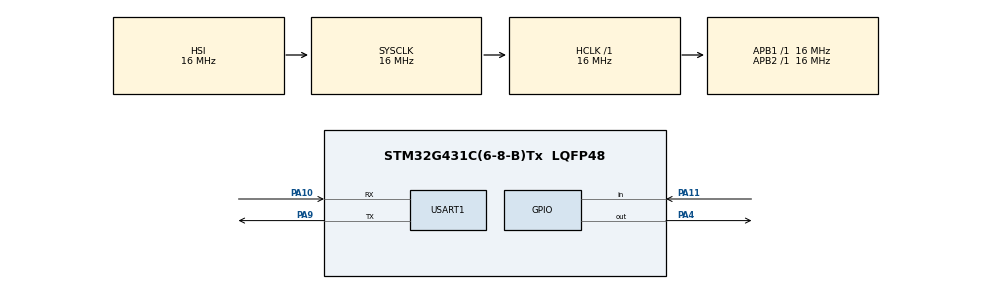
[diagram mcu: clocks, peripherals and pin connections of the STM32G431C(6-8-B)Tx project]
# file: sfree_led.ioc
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FREERTOS.Queues01=BtnQueue,16,uint32_t,0,Dynamic,NULL,NULL
FREERTOS.Tasks01=LTask,24,128,StartLTask,Default,NULL,Dynamic,NULL,NULL;STask,8,128,StartSTask,Default,NULL,Dynamic,NULL,NULL
Mcu.Family=STM32G4
Mcu.Name=STM32G431C(6-8-B)Tx
Mcu.Package=LQFP48
NVIC.PriorityGroup=NVIC_PRIORITYGROUP_4
NVIC.TIM4_IRQn=true\:15\:0\:false\:false\:true\:false\:false\:true\:true
NVIC.TimeBase=TIM4_IRQn
NVIC.TimeBaseIP=TIM4
PA10.Mode=Asynchronous
PA10.Signal=USART1_RX
PA11.Signal=GPIO_Input
PA13.Mode=Serial_Wire
PA13.Signal=SYS_JTMS-SWDIO
PA14.Mode=Serial_Wire
PA14.Signal=SYS_JTCK-SWCLK
PA4.GPIO_PuPd=GPIO_PULLDOWN
PA4.Signal=GPIO_Output
PA9.Mode=Asynchronous
PA9.Signal=USART1_TX
ProjectManager.HeapSize=0x200
ProjectManager.StackSize=0x400
ProjectManager.TargetToolchain=CMake
RCC.AHBFreq_Value=16000000
RCC.APB1Freq_Value=16000000
RCC.APB1TimFreq_Value=16000000
RCC.APB2Freq_Value=16000000
RCC.APB2TimFreq_Value=16000000
RCC.CortexFreq_Value=16000000
RCC.EXTERNAL_CLOCK_VALUE=12288000
RCC.HCLKFreq_Value=16000000
RCC.HSE_VALUE=8000000
RCC.HSI48_VALUE=48000000
RCC.HSI_VALUE=16000000
RCC.LSE_VALUE=32768
RCC.SYSCLKFreq_VALUE=16000000
RCC.USBFreq_Value=64000000
RCC.VCOOutputFreq_Value=128000000
USART1.VirtualMode-Asynchronous=VM_ASYNC
VP_FREERTOS_VS_CMSIS_V2.Mode=CMSIS_V2
VP_SYS_VS_DBSignals.Mode=DisableDeadBatterySignals
VP_SYS_VS_tim4.Mode=TIM4
board=custom

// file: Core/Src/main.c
/* USER CODE BEGIN Header */
/**
  ******************************************************************************
  * @file           : main.c
  * @brief          : Main program body
  ******************************************************************************
  * @attention
  *
  * Copyright (c) 2025 STMicroelectronics.
  * All rights reserved.
  *
  * This software is licensed under terms that can be found in the LICENSE file
  * in the root directory of this software component.
  * If no LICENSE file comes with this software, it is provided AS-IS.
  *
  ******************************************************************************
  */
/* USER CODE END Header */
#include "main.h"
#include "cmsis_os.h"
#include "usart.h"
#include "gpio.h"

void SystemClock_Config(void);
void MX_FREERTOS_Init(void);

int main(void)
{

  /* MCU Configuration--------------------------------------------------------*/

  /* Reset of all peripherals, Initializes the Flash interface and the Systick. */
  HAL_Init();

  /* Configure the system clock */
  SystemClock_Config();

  /* Initialize all configured peripherals */
  MX_GPIO_Init();
  MX_USART1_UART_Init();

  /* Init scheduler */
  osKernelInitialize();  /* Call init function for freertos objects (in cmsis_os2.c) */
  MX_FREERTOS_Init();

  /* Start scheduler */
  osKernelStart();

  /* We should never get here as control is now taken by the scheduler */

  /* Infinite loop */
  while (1)
  {

  }
}

void SystemClock_Config(void)
{
  RCC_OscInitTypeDef RCC_OscInitStruct = {0};
  RCC_ClkInitTypeDef RCC_ClkInitStruct = {0};

  /** Configure the main internal regulator output voltage
  */
  HAL_PWREx_ControlVoltageScaling(PWR_REGULATOR_VOLTAGE_SCALE1);

  /** Initializes the RCC Oscillators according to the specified parameters
  * in the RCC_OscInitTypeDef structure.
  */
  RCC_OscInitStruct.OscillatorType = RCC_OSCILLATORTYPE_HSI;
  RCC_OscInitStruct.HSIState = RCC_HSI_ON;
  RCC_OscInitStruct.HSICalibrationValue = RCC_HSICALIBRATION_DEFAULT;
  RCC_OscInitStruct.PLL.PLLState = RCC_PLL_NONE;
  if (HAL_RCC_OscConfig(&RCC_OscInitStruct) != HAL_OK)
  {
    Error_Handler();
  }

  /** Initializes the CPU, AHB and APB buses clocks
  */
  RCC_ClkInitStruct.ClockType = RCC_CLOCKTYPE_HCLK|RCC_CLOCKTYPE_SYSCLK
                              |RCC_CLOCKTYPE_PCLK1|RCC_CLOCKTYPE_PCLK2;
  RCC_ClkInitStruct.SYSCLKSource = RCC_SYSCLKSOURCE_HSI;
  RCC_ClkInitStruct.AHBCLKDivider = RCC_SYSCLK_DIV1;
  RCC_ClkInitStruct.APB1CLKDivider = RCC_HCLK_DIV1;
  RCC_ClkInitStruct.APB2CLKDivider = RCC_HCLK_DIV1;

  if (HAL_RCC_ClockConfig(&RCC_ClkInitStruct, FLASH_LATENCY_0) != HAL_OK)
  {
    Error_Handler();
  }
}

void HAL_TIM_PeriodElapsedCallback(TIM_HandleTypeDef *htim)
{
  if (htim->Instance == TIM4)
  {
    HAL_IncTick();
  }
}

void Error_Handler(void)
{
  __disable_irq();
  while (1)
  {
  }
}

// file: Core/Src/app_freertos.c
/* USER CODE BEGIN Header */
/**
  ******************************************************************************
  * File Name          : app_freertos.c
  * Description        : Code for freertos applications
  ******************************************************************************
  * @attention
  *
  * Copyright (c) 2025 STMicroelectronics.
  * All rights reserved.
  *
  * This software is licensed under terms that can be found in the LICENSE file
  * in the root directory of this software component.
  * If no LICENSE file comes with this software, it is provided AS-IS.
  *
  ******************************************************************************
  */
/* USER CODE END Header */

#include <stdio.h>
#include <string.h>

#include "FreeRTOS.h"
#include "task.h"
#include "main.h"
#include "cmsis_os.h"
#include "usart.h"

/* USER CODE BEGIN Variables */
// uint8_t btnPressed = 0;
// uint8_t btnCount = 0;

/* USER CODE END Variables */
/* Definitions for LTask */
osThreadId_t LTaskHandle;
const osThreadAttr_t LTask_attributes = {
  .name = "LTask",
  .priority = (osPriority_t) osPriorityNormal,
  .stack_size = 128 * 4
};
/* Definitions for STask */
osThreadId_t STaskHandle;
const osThreadAttr_t STask_attributes = {
  .name = "STask",
  .priority = (osPriority_t) osPriorityLow,
  .stack_size = 128 * 4
};
/* Definitions for BtnQueue */
osMessageQueueId_t BtnQueueHandle;
const osMessageQueueAttr_t BtnQueue_attributes = {
  .name = "BtnQueue"
};

void StartLTask(void *argument);
void StartSTask(void *argument);

void MX_FREERTOS_Init(void); /* (MISRA C 2004 rule 8.1) */

void MX_FREERTOS_Init(void) {

  /* Create the queue(s) */
  /* creation of BtnQueue */
  BtnQueueHandle = osMessageQueueNew (16, sizeof(uint32_t), &BtnQueue_attributes);

  /* Create the thread(s) */
  /* creation of LTask */
  LTaskHandle = osThreadNew(StartLTask, NULL, &LTask_attributes);

  /* creation of STask */
  STaskHandle = osThreadNew(StartSTask, NULL, &STask_attributes);

}

void StartLTask(void *argument)
{
  /* USER CODE BEGIN StartLTask */

  static uint32_t btnCount = 0;

  for(;;) {
    osDelay(10);
    if (HAL_GPIO_ReadPin(GPIOA,GPIO_PIN_11) == RESET) {
      osDelay(10);
      if (HAL_GPIO_ReadPin(GPIOA,GPIO_PIN_11) == RESET) {

        btnCount++;
        osMessageQueuePut(BtnQueueHandle, &btnCount, 0, 0);
      }
      while (HAL_GPIO_ReadPin(GPIOA,GPIO_PIN_11) == RESET) {
        osDelay(10);
      }
    }

  }

  /* USER CODE END StartLTask */
}
  //   if (HAL_GPIO_ReadPin(GPIOA,GPIO_PIN_11) == GPIO_PIN_RESET) {
  //     osDelay(10);
  //     if (HAL_GPIO_ReadPin(GPIOA,GPIO_PIN_11) == GPIO_PIN_RESET) {
  //       btnPressed = 1;
  //       btnCount++;
  //     }
  //     // while (HAL_GPIO_ReadPin(GPIOA,GPIO_PIN_11) == GPIO_PIN_RESET) {
  //     //   btnPressed = 1;
  //     //   osDelay(10);
  //     // }
  //   }else{
  //     btnPressed = 0;
  //     osDelay(10);
  //   }
  //
  // }
  /* USER CODE END StartLTask */

void StartSTask(void *argument) {
  /* USER CODE BEGIN StartSTask */
  static uint32_t btnCount= 0;
  char msg[50];

  // uint32_t dataCount = 0;
  // char msg[50];
  uint8_t dataCount = 0;

  for(;;) {
    osMessageQueueGet(BtnQueueHandle, &btnCount, 0, osWaitForever);
    dataCount++;
    osDelay(1000);
    sprintf(msg,"btnCount: %d  dataCount：%d ",btnCount,dataCount);
    HAL_UART_Transmit(&huart1,(uint8_t *)msg,strlen(msg),10000);
  }

  // for(;;)
  // {
  //   osDelay(10);
  //   if (btnPressed == 1) {
  //     dataCount++;
  //     osDelay(1000);
  //     sprintf(msg,"Button Pressed: %d",dataCount);
  //     HAL_UART_Transmit(&huart1, (uint8_t *)msg, strlen(msg), 1000);
  //   }
  // }
  /* USER CODE END StartSTask */
}

  /* USER CODE END StartSTask */

  /* Private application code --------------------------------------------------*/
